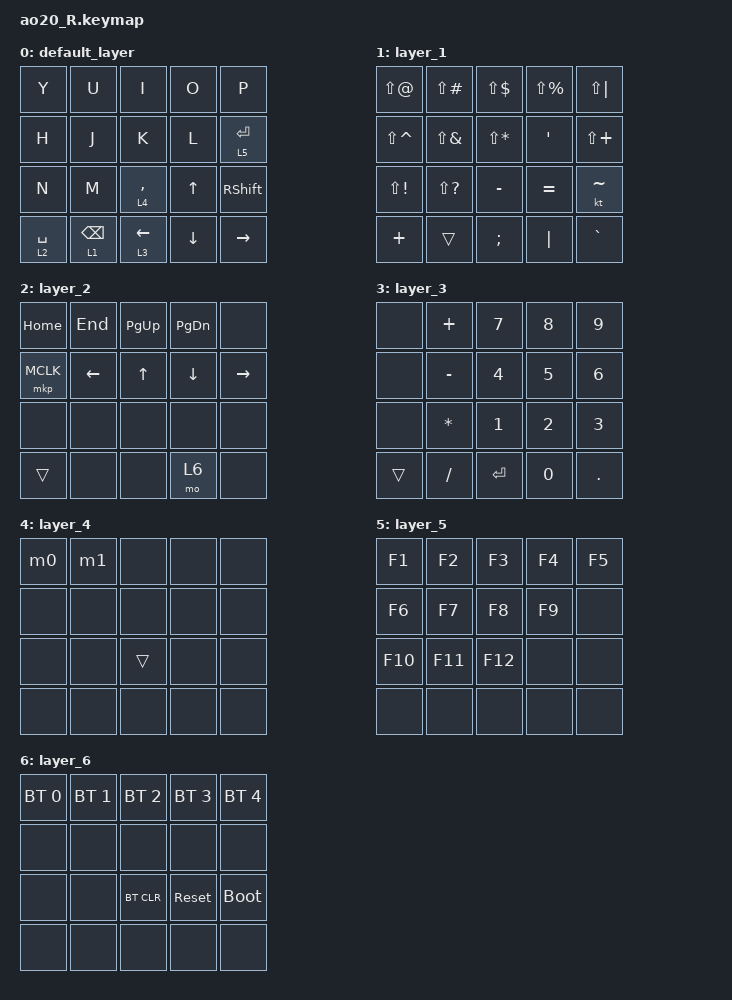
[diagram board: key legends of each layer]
#include <behaviors.dtsi>
#include <dt-bindings/zmk/bt.h>
#include <dt-bindings/zmk/keys.h>
#include <dt-bindings/zmk/keys.h>
#include <dt-bindings/zmk/mouse.h>

/ {
    macros {
        m0: m0 {
            compatible = "zmk,behavior-macro";
            #binding-cells = <0>;
            bindings = <&kp A &kp O>;
            label = "M0";
        };

        m1: m1 {
            compatible = "zmk,behavior-macro";
            #binding-cells = <0>;
            bindings = <&kp A &kp O>;
            label = "M1";
        };
    };


    behaviors {
        RShift_Del: RShift_Del {
            compatible = "zmk,behavior-tap-dance";
            label = "RSHIFT_DEL";
            #binding-cells = <0>;
            bindings = <&kt RSHFT>, <&kt DEL>;
        };
    };

    combos {
        compatible = "zmk,combos";

        RDEL {
            bindings = <&kp DEL>;
            key-positions = <14 19>;
            layers = <0>;
        };

        Rpoint {
            bindings = <&kp PERIOD>;
            key-positions = <5 15>;
        };
    };

    keymap {
        compatible = "zmk,keymap";

        default_layer {
            bindings = <
&kp Y        &kp U            &kp I        &kp O         &kp P
&kp H        &kp J            &kp K        &kp L         &lt 5 ENTER
&kp N        &kp M            &lt 4 COMMA  &kp UP_ARROW  &kp RIGHT_SHIFT
&lt 2 SPACE  &lt 1 BACKSPACE  &lt 3 LEFT   &kp DOWN      &kp RIGHT
            >;
        };

        layer_1 {
            bindings = <
&kp LS(AT)     &kp LS(POUND)  &kp LS(DLLR)   &kp LS(PRCNT)  &kp LS(PIPE)
&kp LS(CARET)  &kp LS(AMPS)   &kp LS(STAR)   &kp SQT        &kp LS(PLUS)
&kp LS(EXCL)   &kp LS(QMARK)  &kp MINUS      &kp EQUAL      &kt TILDE
&kp PLUS       &trans         &kp SEMICOLON  &kp PIPE       &kp GRAVE
            >;
        };

        layer_2 {
            bindings = <
&kp HOME   &kp END   &kp PG_UP  &kp PG_DN  &none
&mkp MCLK  &kp LEFT  &kp UP     &kp DOWN   &kp RIGHT
&none      &none     &none      &none      &none
&trans     &none     &none      &mo 6      &none
            >;
        };

        layer_3 {
            bindings = <
&none   &kp PLUS   &kp N7     &kp N8  &kp N9
&none   &kp MINUS  &kp N4     &kp N5  &kp N6
&none   &kp STAR   &kp N1     &kp N2  &kp N3
&trans  &kp FSLH   &kp ENTER  &kp N0  &kp DOT
            >;
        };

        layer_4 {
            bindings = <
&m0    &m1    &none     &none    &none
&none    &none    &none     &none    &none
&none  &none  &trans  &none  &none
&none  &none  &none   &none  &none
            >;
        };

        layer_5 {
            bindings = <
&kp F1   &kp F2   &kp F3   &kp F4  &kp F5
&kp F6   &kp F7   &kp F8   &kp F9  &none
&kp F10  &kp F11  &kp F12  &none   &none
&none    &none    &none    &none   &none
            >;
        };

        layer_6 {
            bindings = <
&bt BT_SEL 0  &bt BT_SEL 1  &bt BT_SEL 2  &bt BT_SEL 3  &bt BT_SEL 4
&none         &none         &none         &none         &none
&none         &none         &bt BT_CLR    &sys_reset    &bootloader 
&none         &none         &none         &none         &none
            >;
        };
    };
};
